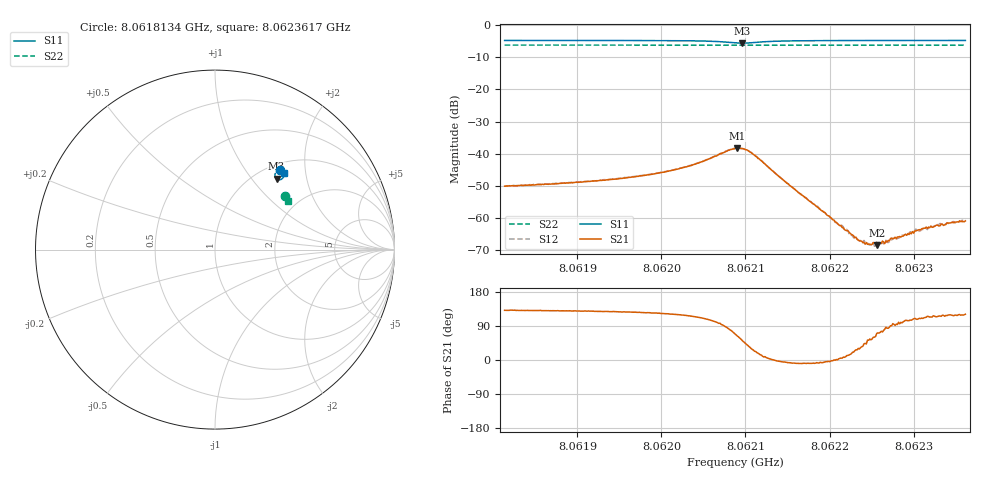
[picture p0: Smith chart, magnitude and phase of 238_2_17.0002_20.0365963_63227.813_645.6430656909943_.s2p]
#  HZ  S  RI  R  50.00
! Rohde & Schwarz Vector Network Analyzer
! Rohde-Schwarz,ZNB20-2Port,1311601062101988,3.16
! Created: UTC 3/20/2024, 11:02:45 PM
! freq[Hz]  re:S11  im:S11  re:S21  im:S21  re:S12  im:S12  re:S22  im:S22
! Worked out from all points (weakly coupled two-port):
!   401 points, 8.0618134 GHz to 8.0623617 GHz, reference 50 ohm
!   highest |S21| = -38.22 dB at 8.0620903 GHz (marker M1); lowest = -68.3 dB at 8.0622561 GHz (marker M2)
!   lowest |S11| = -5.6 dB at 8.0620958 GHz (marker M3), VSWR 3.19, Z = 61.9 + j67.2 ohm
!   |S11| at or under -10 dB: nowhere
!   |S22| runs from -6.3 to -6.2 dB; largest |S21 - S12| = 0.00087
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8.06181343e9  0.3647 0.4457  -0.00207 0.00237  -0.00193 0.00253  0.3881 0.2961
8.06190526e9  0.3715 0.4396  -0.0023 0.00282  -0.00215 0.00303  0.3912 0.2916
8.06199709e9  0.3796 0.4296  -0.00279 0.00419  -0.00254 0.00442  0.3943 0.2868
8.06203821e9  0.3835 0.4191  -0.00285 0.00618  -0.00253 0.0064  0.3957 0.2843
8.06208755e9  0.3578 0.3892  0.00435 0.0113  0.00502 0.0112  0.3956 0.2812
8.0620903e9  0.3528 0.3899  0.0055 0.011  0.00611 0.0108  0.3955 0.2813
8.06209578e9  0.3432 0.3946  0.00735 0.00955  0.00794 0.00925  0.3954 0.2812
8.06210948e9  0.3338 0.4169  0.00878 0.00427  0.00925 0.00381  0.3957 0.2817
8.06217939e9  0.3666 0.4386  0.00169 -0.00026  0.00168 -0.000382  0.3997 0.279
8.0622068e9  0.372 0.4366  0.000879 -9.6e-06  0.000862 -4.16e-05  0.4008 0.2774
8.06221365e9  0.373 0.4362  0.000766 6.51e-05  0.000784 4.15e-05  0.4011 0.2772
8.06223147e9  0.3754 0.4349  0.000453 0.00023  0.000457 0.000209  0.4018 0.2762
8.06224243e9  0.3767 0.4341  0.000285 0.000274  0.000319 0.000274  0.402 0.2756
8.06224792e9  0.3773 0.4337  0.000225 0.000324  0.000241 0.000299  0.4022 0.2753
8.06225614e9  0.3782 0.4331  0.000132 0.000363  0.000175 0.00039  0.4025 0.2749
8.06227122e9  0.3797 0.4322  2.9e-05 0.000445  6.23e-05 0.000427  0.4029 0.2741
8.06227533e9  0.38 0.4321  -5.06e-05 0.000479  3.92e-06 0.000479  0.4032 0.2739
8.06228218e9  0.3806 0.4315  -8.56e-05 0.000505  -4.82e-05 0.00049  0.4034 0.2736
8.0623e9  0.3823 0.4303  -0.000185 0.000556  -0.000152 0.000588  0.4039 0.2726
8.06231234e9  0.3833 0.4297  -0.000256 0.000653  -0.000214 0.000641  0.4044 0.2721
8.06233015e9  0.3846 0.4287  -0.000332 0.000681  -0.000346 0.000721  0.405 0.2711
8.06236168e9  0.3868 0.4268  -0.000463 0.000781  -0.000433 0.000865  0.4059 0.2695
